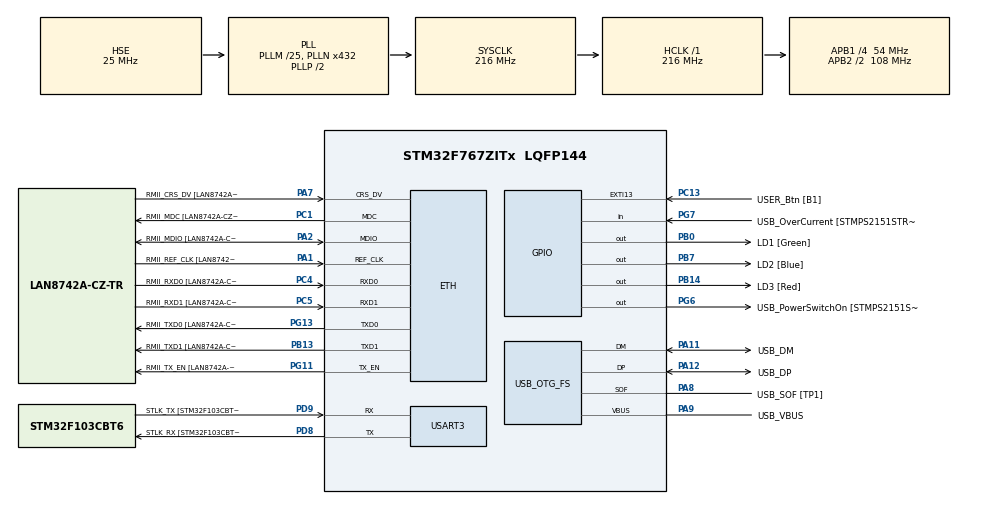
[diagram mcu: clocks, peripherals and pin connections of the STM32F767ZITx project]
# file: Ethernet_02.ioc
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ETH.MediaInterface=HAL_ETH_RMII_MODE
ETH.PHY_Name=LAN8742A_PHY_ADDRESS
ETH.PHY_Value=0
ETH.PhyAddress=0
LWIP.BSP.number=1
LWIP.IP_ADDRESS=192.168.001.025
LWIP.LWIP_DHCP=0
LWIP.LWIP_HTTPD=1
LWIP.NETMASK_ADDRESS=255.255.255.000
LWIP.Version=v2.1.2_Cube
LWIP0.BSP.STBoard=false
LWIP0.BSP.api=BSP_COMPONENT_DRIVER
LWIP0.BSP.component=LAN8742
LWIP0.BSP.instance=LAN8742
LWIP0.BSP.name=Driver_PHY
LWIP0.BSP.semaphore=S_LAN8742
LWIP0.BSP.solution=LAN8742
Mcu.Family=STM32F7
Mcu.Name=STM32F767ZITx
Mcu.Package=LQFP144
NVIC.PriorityGroup=NVIC_PRIORITYGROUP_4
PA1.GPIO_Label=RMII_REF_CLK [LAN8742A-CZ-TR_REFCLK0]
PA1.Mode=RMII
PA1.Signal=ETH_REF_CLK
PA10.GPIO_Label=USB_ID
PA10.Signal=USB_OTG_FS_ID
PA11.GPIO_Label=USB_DM
PA11.Mode=Device_Only
PA11.Signal=USB_OTG_FS_DM
PA12.GPIO_Label=USB_DP
PA12.Mode=Device_Only
PA12.Signal=USB_OTG_FS_DP
PA13.GPIO_Label=TMS
PA13.Mode=Serial_Wire
PA13.Signal=SYS_JTMS-SWDIO
PA14.GPIO_Label=TCK
PA14.Mode=Serial_Wire
PA14.Signal=SYS_JTCK-SWCLK
PA2.GPIO_Label=RMII_MDIO [LAN8742A-CZ-TR_MDIO]
PA2.Mode=RMII
PA2.Signal=ETH_MDIO
PA7.GPIO_Label=RMII_CRS_DV [LAN8742A-CZ-TR_CRS_DV]
PA7.Mode=RMII
PA7.Signal=ETH_CRS_DV
PA8.GPIO_Label=USB_SOF [TP1]
PA8.Mode=Activate_SOF_FS
PA8.Signal=USB_OTG_FS_SOF
PA9.GPIO_Label=USB_VBUS
PA9.Mode=Activate_VBUS
PA9.Signal=USB_OTG_FS_VBUS
PB0.GPIO_Label=LD1 [Green]
PB0.Signal=GPIO_Output
PB13.GPIO_Label=RMII_TXD1 [LAN8742A-CZ-TR_TXD1]
PB13.Mode=RMII
PB13.Signal=ETH_TXD1
PB14.GPIO_Label=LD3 [Red]
PB14.Signal=GPIO_Output
PB3.GPIO_Label=SWO
PB3.Signal=SYS_JTDO-SWO
PB7.GPIO_Label=LD2 [Blue]
PB7.Signal=GPIO_Output
PC1.GPIO_Label=RMII_MDC [LAN8742A-CZ-TR_MDC]
PC1.Mode=RMII
PC1.Signal=ETH_MDC
PC13.GPIO_Label=USER_Btn [B1]
PC13.Signal=GPXTI13
PC14/OSC32_IN.Mode=LSE-External-Oscillator
PC14/OSC32_IN.Signal=RCC_OSC32_IN
PC15/OSC32_OUT.Mode=LSE-External-Oscillator
PC15/OSC32_OUT.Signal=RCC_OSC32_OUT
PC4.GPIO_Label=RMII_RXD0 [LAN8742A-CZ-TR_RXD0]
PC4.Mode=RMII
PC4.Signal=ETH_RXD0
PC5.GPIO_Label=RMII_RXD1 [LAN8742A-CZ-TR_RXD1]
PC5.Mode=RMII
PC5.Signal=ETH_RXD1
PD8.GPIO_Label=STLK_RX [STM32F103CBT6_PA3]
PD8.Mode=Asynchronous
PD8.Signal=USART3_TX
PD9.GPIO_Label=STLK_TX [STM32F103CBT6_PA2]
PD9.Mode=Asynchronous
PD9.Signal=USART3_RX
PG11.GPIO_Label=RMII_TX_EN [LAN8742A-CZ-TR_TXEN]
PG11.Mode=RMII
PG11.Signal=ETH_TX_EN
PG13.GPIO_Label=RMII_TXD0 [LAN8742A-CZ-TR_TXD0]
PG13.Mode=RMII
PG13.Signal=ETH_TXD0
PG6.GPIO_Label=USB_PowerSwitchOn [STMPS2151STR_EN]
PG6.Signal=GPIO_Output
PG7.GPIO_Label=USB_OverCurrent [STMPS2151STR_FAULT]
PG7.Signal=GPIO_Input
PH0/OSC_IN.GPIO_Label=MCO [STM32F103CBT6_PA8]
PH0/OSC_IN.Mode=HSE-External-Clock-Source
PH0/OSC_IN.Signal=RCC_OSC_IN
PH1/OSC_OUT.Mode=HSE-External-Clock-Source
PH1/OSC_OUT.Signal=RCC_OSC_OUT
ProjectManager.HeapSize=0x200
ProjectManager.StackSize=0x400
ProjectManager.TargetToolchain=STM32CubeIDE
RCC.48MHZClocksFreq_Value=24000000
RCC.AHBFreq_Value=216000000
RCC.APB1CLKDivider=RCC_HCLK_DIV4
RCC.APB1Freq_Value=54000000
RCC.APB1TimFreq_Value=108000000
RCC.APB2CLKDivider=RCC_HCLK_DIV2
RCC.APB2Freq_Value=108000000
RCC.APB2TimFreq_Value=216000000
RCC.CortexFreq_Value=216000000
RCC.HCLKFreq_Value=216000000
RCC.HSE_VALUE=25000000
RCC.HSI_VALUE=16000000
RCC.PLLM=25
RCC.PLLMUL=RCC_PLL_MUL9
RCC.PLLN=432
RCC.PLLQ=9
RCC.PRESCALERUSB=RCC_USBCLKSOURCE_PLL_DIV1_5
RCC.SYSCLKFreq_VALUE=216000000
RCC.SYSCLKSource=RCC_SYSCLKSOURCE_PLLCLK
RCC.SYSCLKSourceVirtual=RCC_SYSCLKSOURCE_PLLCLK
RCC.USBFreq_Value=48000000
RCC.VCOOutputFreq_Value=432000000
USART3.VirtualMode-Asynchronous=VM_ASYNC
USB_OTG_FS.VirtualMode=Device_Only
VP_LWIP_VS_Enabled.Mode=Enabled
board=NUCLEO-F767ZI

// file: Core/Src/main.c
/* USER CODE BEGIN Header */
/**
  ******************************************************************************
  * @file           : main.c
  * @brief          : Main program body
  ******************************************************************************
  * @attention
  *
  * Copyright (c) 2025 STMicroelectronics.
  * All rights reserved.
  *
  * This software is licensed under terms that can be found in the LICENSE file
  * in the root directory of this software component.
  * If no LICENSE file comes with this software, it is provided AS-IS.
  *
  ******************************************************************************
  */
/* USER CODE END Header */
#include "main.h"
#include "lwip.h"

/* USER CODE BEGIN Includes */
#include "lwip/apps/httpd.h"
#include "lwip/udp.h"
/* USER CODE END Includes */

UART_HandleTypeDef huart3;

PCD_HandleTypeDef hpcd_USB_OTG_FS;

/* USER CODE BEGIN PV */
struct udp_pcb *udp_recv_pcb;
/* USER CODE END PV */

void SystemClock_Config(void);
static void MX_GPIO_Init(void);
static void MX_USART3_UART_Init(void);
static void MX_USB_OTG_FS_PCD_Init(void);

/* USER CODE BEGIN 0 */
void udp_receive_callback(void *arg, struct udp_pcb *pcb, struct pbuf *p, const ip_addr_t *addr, u16_t port)
{
  if (p != NULL)
  {
    // Простой разбор входящих данных
    if (p->len >= 1)
    {
      char command = ((char *)p->payload)[0];
      if (command == '1') {
        HAL_GPIO_WritePin(GPIOB, GPIO_PIN_7, GPIO_PIN_SET); // ВКЛ
      }
      else if (command == '0') {
        HAL_GPIO_WritePin(GPIOB, GPIO_PIN_7, GPIO_PIN_RESET); // ВЫКЛ
      }
    }

    pbuf_free(p); // Освобождаем буфер
  }
}
/* USER CODE END 0 */

int main(void)
{

  /* MCU Configuration--------------------------------------------------------*/

  /* Reset of all peripherals, Initializes the Flash interface and the Systick. */
  HAL_Init();

  /* Configure the system clock */
  SystemClock_Config();

  /* Initialize all configured peripherals */
  MX_GPIO_Init();
  MX_USART3_UART_Init();
  MX_USB_OTG_FS_PCD_Init();
  MX_LWIP_Init();
  /* USER CODE BEGIN 2 */
  httpd_init();

  udp_recv_pcb = udp_new();
  if (udp_recv_pcb != NULL)
  {
    err_t err = udp_bind(udp_recv_pcb, IP_ADDR_ANY, 1234); // порт 1234 — можно изменить
    if (err == ERR_OK)
    {
      udp_recv(udp_recv_pcb, udp_receive_callback, NULL);
    }
  }

  uint32_t count = 0;
  /* USER CODE END 2 */

  /* Infinite loop */
  /* USER CODE BEGIN WHILE */
  while (1)
  {

	  MX_LWIP_Process();
	  count++;
	  if (count >= 10000)
	  {
		  HAL_GPIO_TogglePin(GPIOB, GPIO_PIN_0);
		  count = 0;
	  }
    /* USER CODE END WHILE */

  }
}

void SystemClock_Config(void)
{
  RCC_OscInitTypeDef RCC_OscInitStruct = {0};
  RCC_ClkInitTypeDef RCC_ClkInitStruct = {0};

  /** Configure LSE Drive Capability
  */
  HAL_PWR_EnableBkUpAccess();

  /** Configure the main internal regulator output voltage
  */
  __HAL_RCC_PWR_CLK_ENABLE();
  __HAL_PWR_VOLTAGESCALING_CONFIG(PWR_REGULATOR_VOLTAGE_SCALE1);

  /** Initializes the RCC Oscillators according to the specified parameters
  * in the RCC_OscInitTypeDef structure.
  */
  RCC_OscInitStruct.OscillatorType = RCC_OSCILLATORTYPE_HSE;
  RCC_OscInitStruct.HSEState = RCC_HSE_BYPASS;
  RCC_OscInitStruct.PLL.PLLState = RCC_PLL_ON;
  RCC_OscInitStruct.PLL.PLLSource = RCC_PLLSOURCE_HSE;
  RCC_OscInitStruct.PLL.PLLM = 25;
  RCC_OscInitStruct.PLL.PLLN = 432;
  RCC_OscInitStruct.PLL.PLLP = RCC_PLLP_DIV2;
  RCC_OscInitStruct.PLL.PLLQ = 9;
  RCC_OscInitStruct.PLL.PLLR = 2;
  if (HAL_RCC_OscConfig(&RCC_OscInitStruct) != HAL_OK)
  {
    Error_Handler();
  }

  /** Activate the Over-Drive mode
  */
  if (HAL_PWREx_EnableOverDrive() != HAL_OK)
  {
    Error_Handler();
  }

  /** Initializes the CPU, AHB and APB buses clocks
  */
  RCC_ClkInitStruct.ClockType = RCC_CLOCKTYPE_HCLK|RCC_CLOCKTYPE_SYSCLK
                              |RCC_CLOCKTYPE_PCLK1|RCC_CLOCKTYPE_PCLK2;
  RCC_ClkInitStruct.SYSCLKSource = RCC_SYSCLKSOURCE_PLLCLK;
  RCC_ClkInitStruct.AHBCLKDivider = RCC_SYSCLK_DIV1;
  RCC_ClkInitStruct.APB1CLKDivider = RCC_HCLK_DIV4;
  RCC_ClkInitStruct.APB2CLKDivider = RCC_HCLK_DIV2;

  if (HAL_RCC_ClockConfig(&RCC_ClkInitStruct, FLASH_LATENCY_7) != HAL_OK)
  {
    Error_Handler();
  }
}

static void MX_USART3_UART_Init(void)
{

  huart3.Instance = USART3;
  huart3.Init.BaudRate = 115200;
  huart3.Init.WordLength = UART_WORDLENGTH_8B;
  huart3.Init.StopBits = UART_STOPBITS_1;
  huart3.Init.Parity = UART_PARITY_NONE;
  huart3.Init.Mode = UART_MODE_TX_RX;
  huart3.Init.HwFlowCtl = UART_HWCONTROL_NONE;
  huart3.Init.OverSampling = UART_OVERSAMPLING_16;
  huart3.Init.OneBitSampling = UART_ONE_BIT_SAMPLE_DISABLE;
  huart3.AdvancedInit.AdvFeatureInit = UART_ADVFEATURE_NO_INIT;
  if (HAL_UART_Init(&huart3) != HAL_OK)
  {
    Error_Handler();
  }

}

static void MX_USB_OTG_FS_PCD_Init(void)
{

  hpcd_USB_OTG_FS.Instance = USB_OTG_FS;
  hpcd_USB_OTG_FS.Init.dev_endpoints = 6;
  hpcd_USB_OTG_FS.Init.speed = PCD_SPEED_FULL;
  hpcd_USB_OTG_FS.Init.dma_enable = DISABLE;
  hpcd_USB_OTG_FS.Init.phy_itface = PCD_PHY_EMBEDDED;
  hpcd_USB_OTG_FS.Init.Sof_enable = ENABLE;
  hpcd_USB_OTG_FS.Init.low_power_enable = DISABLE;
  hpcd_USB_OTG_FS.Init.lpm_enable = DISABLE;
  hpcd_USB_OTG_FS.Init.vbus_sensing_enable = ENABLE;
  hpcd_USB_OTG_FS.Init.use_dedicated_ep1 = DISABLE;
  if (HAL_PCD_Init(&hpcd_USB_OTG_FS) != HAL_OK)
  {
    Error_Handler();
  }

}

static void MX_GPIO_Init(void)
{
  GPIO_InitTypeDef GPIO_InitStruct = {0};

  /* GPIO Ports Clock Enable */
  __HAL_RCC_GPIOC_CLK_ENABLE();
  __HAL_RCC_GPIOH_CLK_ENABLE();
  __HAL_RCC_GPIOA_CLK_ENABLE();
  __HAL_RCC_GPIOB_CLK_ENABLE();
  __HAL_RCC_GPIOD_CLK_ENABLE();
  __HAL_RCC_GPIOG_CLK_ENABLE();

  /*Configure GPIO pin Output Level */
  HAL_GPIO_WritePin(GPIOB, LD1_Pin|LD3_Pin|LD2_Pin, GPIO_PIN_RESET);

  /*Configure GPIO pin Output Level */
  HAL_GPIO_WritePin(USB_PowerSwitchOn_GPIO_Port, USB_PowerSwitchOn_Pin, GPIO_PIN_RESET);

  /*Configure GPIO pin : USER_Btn_Pin */
  GPIO_InitStruct.Pin = USER_Btn_Pin;
  GPIO_InitStruct.Mode = GPIO_MODE_IT_RISING;
  GPIO_InitStruct.Pull = GPIO_NOPULL;
  HAL_GPIO_Init(USER_Btn_GPIO_Port, &GPIO_InitStruct);

  /*Configure GPIO pins : LD1_Pin LD3_Pin LD2_Pin */
  GPIO_InitStruct.Pin = LD1_Pin|LD3_Pin|LD2_Pin;
  GPIO_InitStruct.Mode = GPIO_MODE_OUTPUT_PP;
  GPIO_InitStruct.Pull = GPIO_NOPULL;
  GPIO_InitStruct.Speed = GPIO_SPEED_FREQ_LOW;
  HAL_GPIO_Init(GPIOB, &GPIO_InitStruct);

  /*Configure GPIO pin : USB_PowerSwitchOn_Pin */
  GPIO_InitStruct.Pin = USB_PowerSwitchOn_Pin;
  GPIO_InitStruct.Mode = GPIO_MODE_OUTPUT_PP;
  GPIO_InitStruct.Pull = GPIO_NOPULL;
  GPIO_InitStruct.Speed = GPIO_SPEED_FREQ_LOW;
  HAL_GPIO_Init(USB_PowerSwitchOn_GPIO_Port, &GPIO_InitStruct);

  /*Configure GPIO pin : USB_OverCurrent_Pin */
  GPIO_InitStruct.Pin = USB_OverCurrent_Pin;
  GPIO_InitStruct.Mode = GPIO_MODE_INPUT;
  GPIO_InitStruct.Pull = GPIO_NOPULL;
  HAL_GPIO_Init(USB_OverCurrent_GPIO_Port, &GPIO_InitStruct);

}

void Error_Handler(void)
{
  __disable_irq();
  while (1)
  {
  }
}
